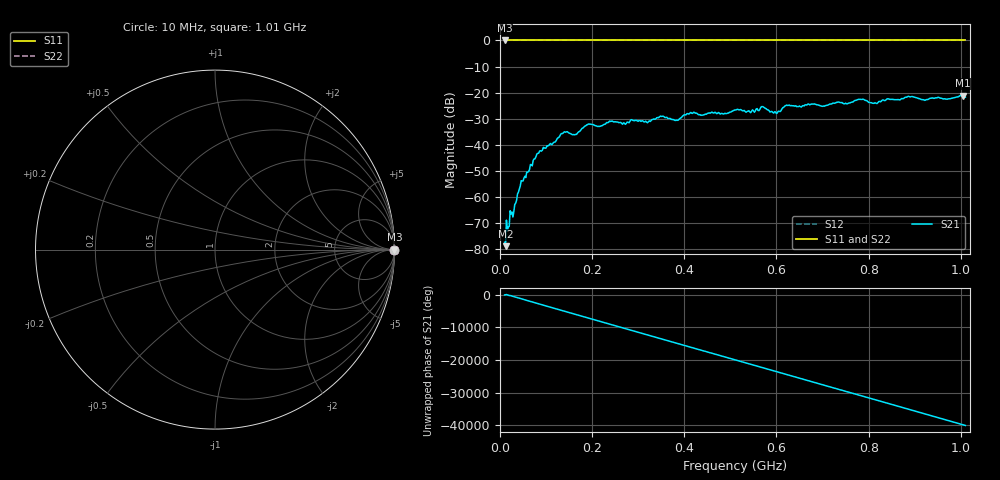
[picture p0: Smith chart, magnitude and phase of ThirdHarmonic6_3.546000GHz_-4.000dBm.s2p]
! 8/17/2025 11:41:25 AM
! C:\ANRITSUVNA\TEMP\TEMP.S2P
! CHANNEL.1
! TR.MEASUREMENT
! RAW.DATA
! RF.CORRECTION.OFF
! AVERAGING.OFF
! IF.BANDWIDTH: 5KHZ
! SWEEPTYPE:  FREQ.SWEEP(Linear)
! Reference Plane Port Info
! PORT:  PORT1  PORT2
! DISTANCE:  0  m  0  m
! TIME:  0  s  0  s
! PHASE.OFFSET:  0  deg.  0  deg.
! LOSS:  0  dB  0  dB
! REF.LOSS:  0  dB  0  dB
! REF.FREQ:  0  Hz  0  Hz
! Power Info
! POWER:  -20  dBm  -20  dBm
! EFF.POWER:  -20  dBm  -20  dBm
! SOURCE.ATTEN:  0  dB  0  dB
! TEST.ATTEN:  0  dB  0  dB
# GHZ S RI R 50.0
! FREQ.GHZ  S11RE  S11IM  S21RE  S21IM  S12RE  S12IM  S22RE  S22IM
!; PortSelection: Port_12
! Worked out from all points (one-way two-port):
!   501 points, 10 MHz to 1.01 GHz, reference 50 ohm
!   highest |S21| = -21.15 dB at 1.004 GHz (marker M1); lowest = -79.0 dB at 12 MHz (marker M2)
!   lowest |S11| = 0.0 dB at 10 MHz (marker M3)
!   |S11| at or under -10 dB: nowhere
!   |S22| runs from 0.0 to 0.0 dB; largest |S21 - S12| = 1.1
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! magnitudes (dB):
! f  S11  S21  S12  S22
! 10 MHz  0.0  -77.5  0.0  0.0
! 12 MHz  0.0  -79.0  0.0  0.0
! 18 MHz  0.0  -71.6  0.0  0.0
! 32 MHz  0.0  -63.0  0.0  0.0
! 44 MHz  0.0  -55.9  0.0  0.0
! 82 MHz  0.0  -43.3  0.0  0.0
! 136 MHz  0.0  -35.7  0.0  0.0
! 162 MHz  0.0  -36.2  0.0  0.0
! 178 MHz  0.0  -33.7  0.0  0.0
! 192 MHz  0.0  -32.1  0.0  0.0
! 322 MHz  0.0  -31.2  0.0  0.0
! 344 MHz  0.0  -29.6  0.0  0.0
! 382 MHz  0.0  -30.7  0.0  0.0
! 416 MHz  0.0  -27.9  0.0  0.0
! 510 MHz  0.0  -26.7  0.0  0.0
! 570 MHz  0.0  -25.4  0.0  0.0
! 598 MHz  0.0  -27.4  0.0  0.0
! 622 MHz  0.0  -24.8  0.0  0.0
! 678 MHz  0.0  -24.4  0.0  0.0
! 844 MHz  0.0  -22.5  0.0  0.0
! 1.004 GHz  0.0  -21.1  0.0  0.0
! 1.01 GHz  0.0  -21.8  0.0  0.0
